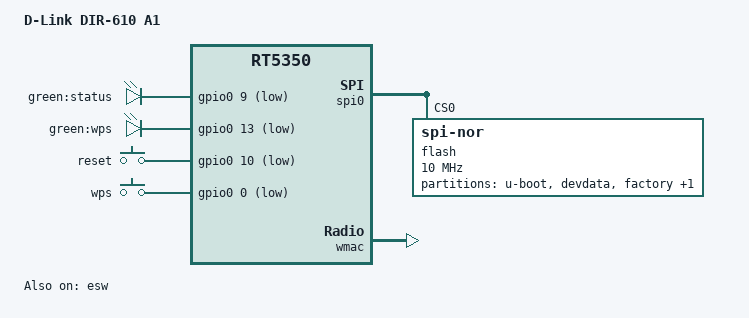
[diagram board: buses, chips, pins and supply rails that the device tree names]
#include "rt5350.dtsi"

#include <dt-bindings/gpio/gpio.h>
#include <dt-bindings/input/input.h>

/ {
	compatible = "dlink,dir-610-a1", "ralink,rt5350-soc";
	model = "D-Link DIR-610 A1";

	aliases {
		led-boot = &led_status;
		led-failsafe = &led_status;
		led-running = &led_status;
		led-upgrade = &led_status;
	};

	leds {
		compatible = "gpio-leds";

		led_status: status {
			label = "green:status";
			gpios = <&gpio0 9 GPIO_ACTIVE_LOW>;
		};

		wps {
			label = "green:wps";
			gpios = <&gpio0 13 GPIO_ACTIVE_LOW>;
		};
	};

	keys {
		compatible = "gpio-keys-polled";
		poll-interval = <20>;

		reset {
			label = "reset";
			gpios = <&gpio0 10 GPIO_ACTIVE_LOW>;
			linux,code = <KEY_RESTART>;
		};

		wps {
			label = "wps";
			gpios = <&gpio0 0 GPIO_ACTIVE_LOW>;
			linux,code = <KEY_WPS_BUTTON>;
		};
	};
};

&spi0 {
	status = "okay";

	flash@0 {
		compatible = "jedec,spi-nor";
		reg = <0>;
		spi-max-frequency = <10000000>;

		partitions {
			compatible = "fixed-partitions";
			#address-cells = <1>;
			#size-cells = <1>;

			partition@0 {
				label = "u-boot";
				reg = <0x0 0x30000>;
				read-only;
			};

			devdata: partition@30000 {
				label = "devdata";
				reg = <0x30000 0x10000>;
				read-only;
			};

			factory: partition@40000 {
				label = "factory";
				reg = <0x40000 0x10000>;
				read-only;
			};

			partition@50000 {
				compatible = "seama";
				label = "firmware";
				reg = <0x50000 0x3b0000>;
			};
		};
	};
};

&state_default {
	gpio {
		groups = "i2c", "jtag", "uartf";
		function = "gpio";
	};
};

&ethernet {
	nvmem-cells = <&macaddr_devdata_4004>;
	nvmem-cell-names = "mac-address";
};

&esw {
	status = "okay";
	mediatek,portmap = <0x2f>;
	mediatek,led_polarity = <0x17>;
};

&wmac {
	status = "okay";
	ralink,led-polarity = <1>;
	ralink,mtd-eeprom = <&devdata 0x4000>;
};

&devdata {
	compatible = "nvmem-cells";
	#address-cells = <1>;
	#size-cells = <1>;

	macaddr_devdata_4004: macaddr@4004 {
		reg = <0x4004 0x6>;
	};
};
